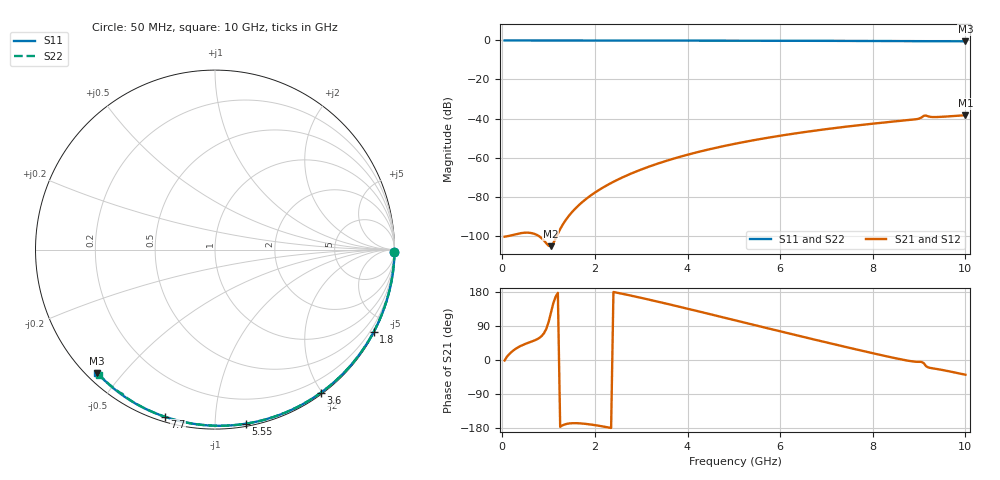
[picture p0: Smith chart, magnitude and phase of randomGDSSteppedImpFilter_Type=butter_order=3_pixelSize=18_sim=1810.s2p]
! freq	dB(S11)	phase(S11)	dB(S12)	phase(S12)
!  dB(S21)	phase(S21)	dB(S22)	phase(S22)
!S-par simulation data
#  GHz  S  DB  R 50
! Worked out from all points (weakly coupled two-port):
!   200 points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, 50 MHz to 10 GHz, reference 50 ohm
!   highest |S21| = -38.31 dB at 10 GHz (marker M1); lowest = -105.4 dB at 1.05 GHz (marker M2)
!   lowest |S11| = -0.4 dB at 10 GHz (marker M3), VSWR 39.33, Z = 1.5 - j21.4 ohm
!   |S11| at or under -10 dB: nowhere
!   |S22| runs from -0.4 to 0.0 dB; largest |S21 - S12| = 0
!   S11 on the Smith chart (normalised r, x): 50 MHz: open; 1.8 GHz: 0.04, -4.10; 3.6 GHz: 0.02, -1.98; 5.55 GHz: 0.02, -1.19; 7.7 GHz: 0.02, -0.74; 10 GHz: 0.03, -0.43
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0.05  -0.00 -0.8  -100.55 -1.2  -100.55 -1.2  -0.00 -0.8
1.05  -0.02 -16.1  -105.40 124.5  -105.40 124.5  -0.02 -16.0
1.75  -0.03 -26.7  -82.35 -167.9  -82.35 -167.9  -0.03 -26.5
1.8  -0.04 -27.4  -81.38 -168.6  -81.38 -168.6  -0.03 -27.3
1.9  -0.04 -28.9  -79.59 -170.1  -79.59 -170.1  -0.04 -28.7
2.25  -0.04 -34.1  -74.32 -177.0  -74.32 -177.0  -0.04 -33.9
2.65  -0.05 -39.9  -69.57 173.2  -69.57 173.2  -0.05 -39.7
3.4  -0.07 -50.7  -62.76 152.8  -62.76 152.8  -0.07 -50.5
3.6  -0.07 -53.6  -61.26 147.0  -61.26 147.0  -0.07 -53.3
4.3  -0.09 -63.3  -56.73 126.5  -56.73 126.5  -0.09 -63.0
5.05  -0.11 -73.4  -52.81 104.1  -52.81 104.1  -0.11 -73.0
5.55  -0.13 -80.0  -50.59 89.1  -50.59 89.1  -0.13 -79.5
6.7  -0.18 -94.5  -46.37 55.1  -46.37 55.1  -0.18 -94.1
7.7  -0.25 -106.7  -43.42 26.3  -43.42 26.3  -0.24 -106.2
8.35  -0.29 -114.4  -41.78 8.4  -41.78 8.4  -0.29 -113.8
8.95  -0.34 -121.5  -40.32 -4.8  -40.32 -4.8  -0.35 -120.9
9.05  -0.35 -122.6  -39.51 -4.9  -39.51 -4.9  -0.38 -122.1
9.1  -0.35 -123.2  -38.62 -8.3  -38.62 -8.3  -0.40 -122.6
9.15  -0.35 -123.8  -38.49 -16.1  -38.49 -16.1  -0.40 -123.0
9.25  -0.36 -125.0  -39.16 -21.1  -39.16 -21.1  -0.38 -124.1
9.35  -0.37 -126.1  -39.25 -23.0  -39.25 -23.0  -0.38 -125.3
10  -0.44 -133.7  -38.31 -38.8  -38.31 -38.8  -0.45 -132.8
